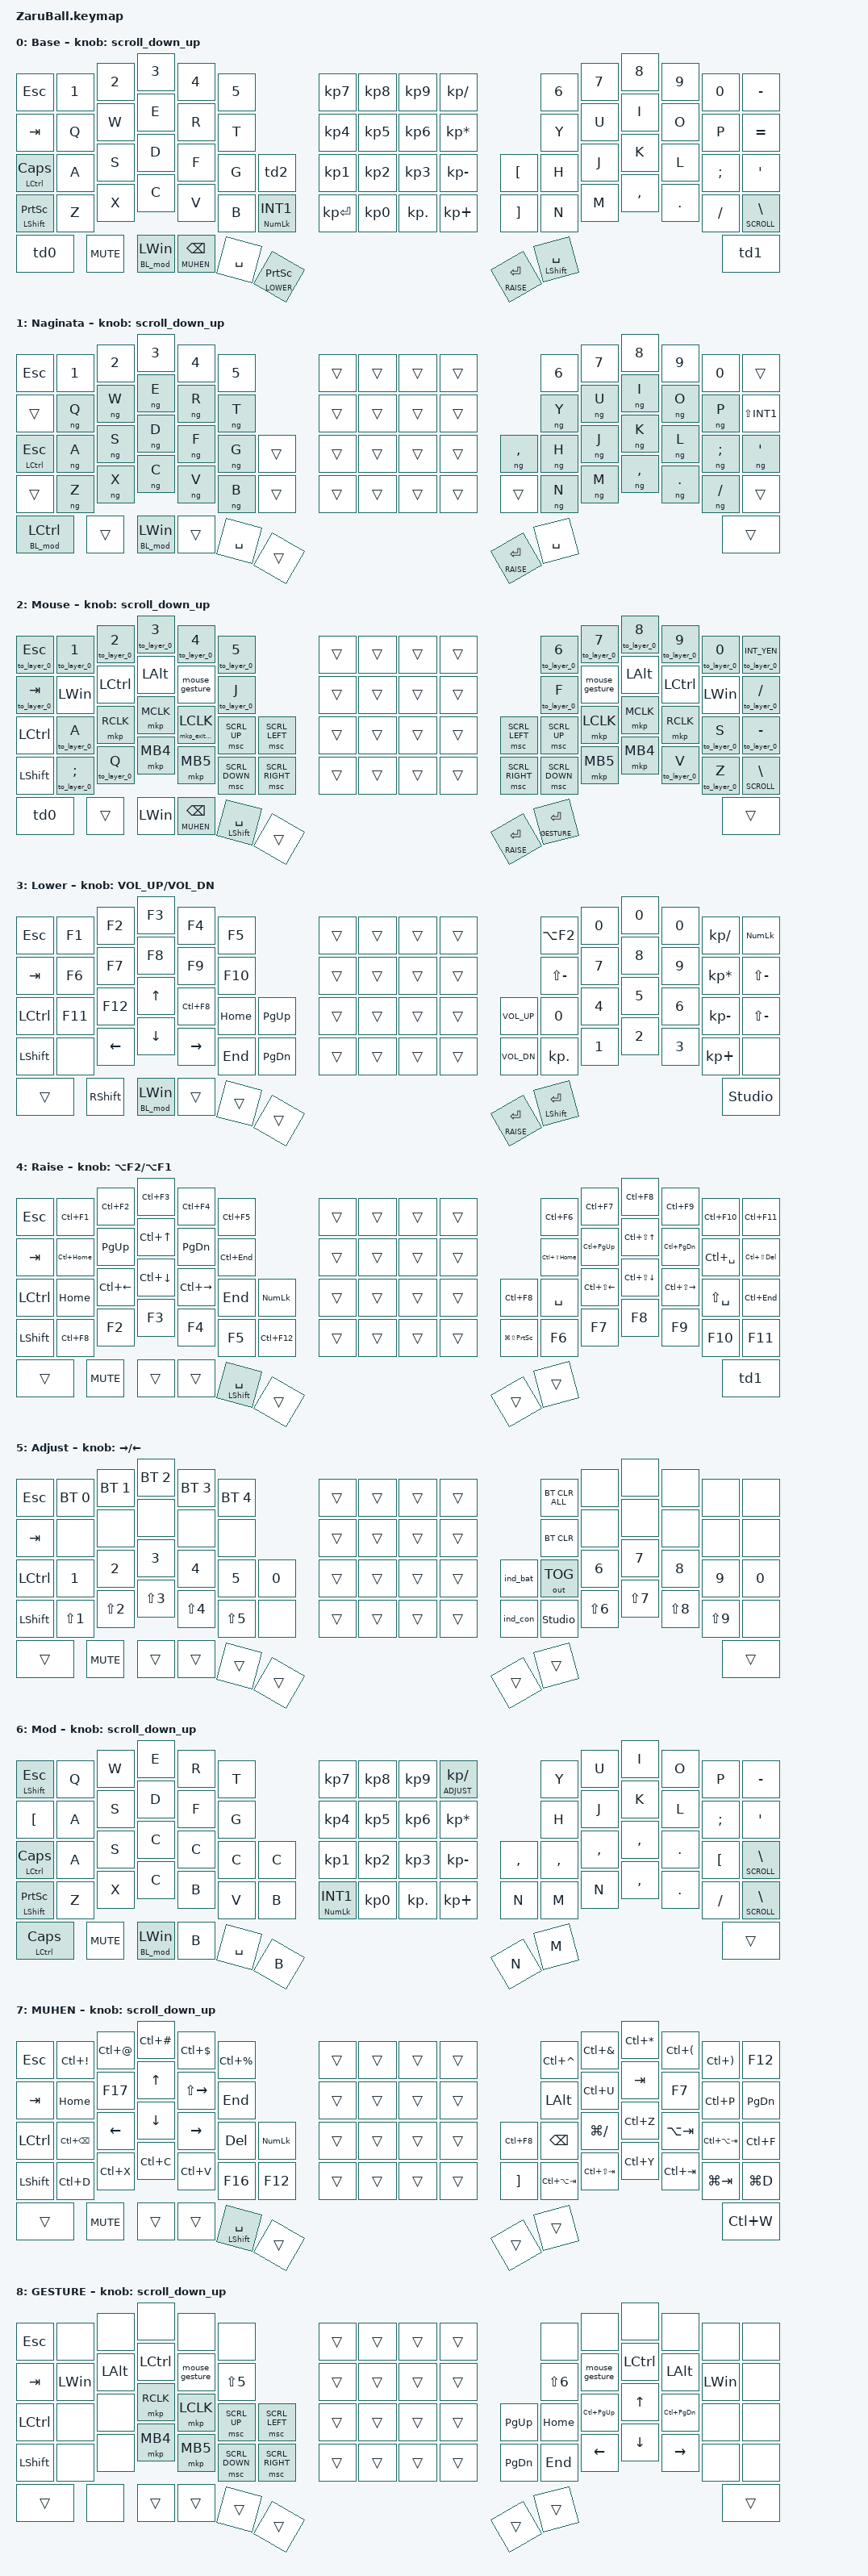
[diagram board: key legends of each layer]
//#include <dt-bindings/zmk/mouse.h>

#include <behaviors/rgbled_widget.dtsi>
#include <behaviors.dtsi>
#include <dt-bindings/zmk/bt.h>
#include <dt-bindings/zmk/keys.h>
#include <dt-bindings/zmk/outputs.h>
#include <dt-bindings/zmk/pointing.h>
#include <behaviors/naginata.dtsi>

#include <input/processors.dtsi>
#include <dt-bindings/zmk/input_transform.h>

//#include <behaviors/mejiro.dtsi>
//#include <dt-bindings/zmk/mejiro.h>

#include <mouse-gesture.dtsi>

#define BASE     0
#define NAGINATA 1
#define MOUSE    2
#define LOWER    3
#define RAISE    4
#define ADJUST   5
#define MOD      6
#define SCROLL   3
#define MUHEN   7
#define GESTURE   8




// スクロール量の設定
#define ZMK_POINTING_DEFAULT_SCRL_VAL 100

&trackball_listener {
    input-processors = <&zip_xy_transform (INPUT_TRANSFORM_XY_SWAP | INPUT_TRANSFORM_Y_INVERT | INPUT_TRANSFORM_X_INVERT)
                        &zip_temp_layer MOUSE 500
                        &zip_mouse_gesture>;

    scroller {
        layers = <SCROLL>;
        input-processors = <
                            &zip_xy_transform (INPUT_TRANSFORM_XY_SWAP | INPUT_TRANSFORM_X_INVERT)
                            &zip_xy_scaler 1 15
                            &zip_xy_to_scroll_mapper
                            >;
    };
};


&zip_mouse_gesture {
    stroke-size = <250>;
    idle-timeout-ms = <150>;
    gesture-cooldown-ms = <150>;
    enable-eager-mode;
    suppress-movement;

    next {
        pattern = <GESTURE_RIGHT>;
        bindings = <&kp TAB>;
    };

    prev {
        pattern = <GESTURE_LEFT>;
        bindings = <&kp LS(TAB)>;
    };

    decide {
        pattern = <GESTURE_UP>;
        bindings = <&kp UP>;
    };

    cancel {
        pattern = <GESTURE_DOWN>;
        bindings = <&kp DOWN>;
    };
};

/ {
    conditional_layers {
        compatible = "zmk,conditional-layers";

        tri_layer {
            if-layers = <3 4>;
            then-layer = <5>;
        };
    };
};

/ {
    behaviors {
        // スクロール用のbehaviorの設定
        scroll_down_up: behavior_sensor_rotate_mouse_wheel_down_up {
            compatible = "zmk,behavior-sensor-rotate";
            #sensor-binding-cells = <0>;
            bindings = <&msc SCRL_DOWN>, <&msc SCRL_UP>;
            tap-ms = <20>; // スクロールのタップ時間
        };

        td0: tap_dance_0 {
            compatible = "zmk,behavior-tap-dance";
            #binding-cells = <0>;
            tapping-term-ms = <200>;
            bindings = <&mt LALT LANG2>, <&mo RAISE>, <&mo MOUSE>;
        };

        td1: tap_dance_1 {
            compatible = "zmk,behavior-tap-dance";
            #binding-cells = <0>;
            tapping-term-ms = <200>;
            bindings = <&BL_mod LCTRL>, <&mo RAISE>, <&mo MOUSE>;
        };

        td2: tap_dance_2 {
            compatible = "zmk,behavior-tap-dance";
            #binding-cells = <0>;
            tapping-term-ms = <200>;
            bindings = <&mt LCTL LBKT>, <&kp KP_NUM>, <&kp RBKT>;
        };



        // Customed Hold-Tap for SandS
        // 他キーとの同時押しのみHold(Shift), 500m以上長押しすると、Tap(Space)のリピート
        SandS: SandS {
            compatible = "zmk,behavior-hold-tap";
            #binding-cells = <2>;
            flavor = "tap-unless-interrupted";
            tapping-term-ms = <500>; // tap-unless-interruptedのため意味は無いが、設定しないとエラーはく
            quick-tap-ms = <500>;
            bindings = <&kp>, <&kp>;

            display-name = "SandS";
        };

        ht_BASE: ht_BASE {
            compatible = "zmk,behavior-hold-tap";
            #binding-cells = <2>;
            flavor = "hold-preferred";
            tapping-term-ms = <200>;
            bindings = <&BL_mod>, <&kp>;

            display-name = "ht-BL_mod";
        };

    };
};


//* mejiro behavior: module側の /behaviors/mejiro に #binding-cells が無いので補修 */
//&{/behaviors/mejiro} {
//  #binding-cells = <1>;
//};

///* もし /behaviors/mj が存在する構成でも安全にしておく（あっても害なし） */
//&{/behaviors/mj} {
//  #binding-cells = <1>;
//};


&sl { release-after-ms = <250>; }; // time needed for double click (for mkp_exit_AML)
/ {
    macros {
        // When in AML, move to default layer when key (except mouse button) pressed
        to_layer_0: to_layer_0 {
            compatible = "zmk,behavior-macro-one-param";
            #binding-cells = <1>;
            bindings = <&tog MOUSE &macro_param_1to1 &kp MACRO_PLACEHOLDER>;
            label = "TO_layer_0";
        };

        // When LCLK pressed, exit AML (after 250ms cause by sticky layer)
        mkp_exit_AML: mkp_exit_AML {
            compatible = "zmk,behavior-macro-one-param";
            #binding-cells = <1>;
            bindings =
                <&macro_press>,
                <&macro_param_1to1 &mkp MACRO_PLACEHOLDER>,
                <&macro_pause_for_release>,
                <&macro_release>,
                <&macro_param_1to1 &mkp MACRO_PLACEHOLDER>,
                <&macro_tap>,
                <&sl MOUSE>;

            label = "MKP_EXIT_AML";
        };

        // Support swapping into Scroll layer when AML is activated

        to_scroll_layer: to_scroll_layer {
            compatible = "zmk,behavior-macro";
            #binding-cells = <0>;
            bindings =
                <&to SCROLL>,
                <&macro_press>,
                <&mo SCROLL>,
                <&macro_pause_for_release>,
                <&macro_release>,
                <&mo SCROLL>;
        };

        BL_mod: BL_mod {
            compatible = "zmk,behavior-macro-one-param";
            #binding-cells = <1>;
            bindings =
                <&macro_press>,
                <&mo MOD &macro_param_1to1>,
                <&macro_press>,
                <&kp MACRO_PLACEHOLDER>,
                <&macro_pause_for_release>,
                <&macro_param_1to1>,
                <&macro_release>,
                <&kp MACRO_PLACEHOLDER>,
                <&macro_release>,
                <&mo MOD>;
        };

        ng_on: ng_on {
            compatible = "zmk,behavior-macro";
            #binding-cells = <0>;
            bindings = <&macro_tap &kp LANG1 &to NAGINATA>;
            //bindings = <&macro_tap &kp CAPS &to NAGINATA>;
        };
    
        ng_off: ng_off {
            compatible = "zmk,behavior-macro";
            #binding-cells = <0>;
            bindings = <&macro_tap &kp LANG2 &to BASE>;
            //bindings = <&macro_tap &kp CAPS &to BASE>;
        };

        mg_on: mg_on {
            compatible = "zmk,behavior-macro";
            #binding-cells = <0>;
            bindings = <&macro_tap &kp LANG1 &to MOD>;
            //bindings = <&macro_tap &kp CAPS &to MOD>;
        };

    };

    combos {
        compatible = "zmk,combos";
        combo_ng_on {
            timeout-ms = <300>;
            key-positions = <45 65>; // 45 65 6 7
            bindings = <&ng_on>;
            layers = <0 1 6>;
        };

        combo_ng_off {
            timeout-ms = <300>;
            key-positions = <52 36>; // 34 36 6 8
            bindings = <&ng_off>;
            layers = <0 1 6>;
        };

        combo_mg_on {
            timeout-ms = <300>;
            key-positions = <52 54>; // 45 65 6 7
            bindings = <&mg_on>;
            layers = <0 1 6>;
        };

};
};


/ {
    keymap {
        compatible = "zmk,keymap";

        base_layer {
            display-name = "Base";
            sensor-bindings = <&scroll_down_up>;
            bindings = <
&kp ESC         &kp N1      &kp N2  &kp N3    &kp N4     &kp N5                              &kp KP_N7     &kp KP_N8  &kp KP_N9   &kp KP_DIVIDE                 &kp NUMBER_6  &kp N7  &kp N8     &kp N9   &kp N0    &kp MINUS
&kp TAB         &kp Q       &kp W   &kp E     &kp R      &kp T                               &kp KP_N4     &kp KP_N5  &kp KP_N6   &kp KP_MULTIPLY               &kp Y         &kp U   &kp I      &kp O    &kp P     &kp EQUAL
&mt LCTRL CAPS  &kp A       &kp S   &kp D     &kp F      &kp G               &td2            &kp KP_N1     &kp KP_N2  &kp KP_N3   &kp KP_MINUS       &kp LBKT   &kp H         &kp J   &kp K      &kp L    &kp SEMI  &kp SQT
&mt LSHFT PSCRN &kp Z       &kp X   &kp C     &kp V      &kp B               &mt KP_NUM INT1 &kp KP_ENTER  &kp KP_N0  &kp KP_DOT  &kp KP_PLUS        &kp RBKT   &kp N         &kp M   &kp COMMA  &kp DOT  &kp FSLH  &lt SCROLL BACKSLASH
&td0            &kp C_MUTE  &BL_mod LWIN  &lt MUHEN BSPC &kp SPACE  &lt LOWER PSCRN                                                               &lt RAISE RET   &SandS LSHFT SPACE                                           &td1
            >;
        };

        naginata_layer {
            display-name = "Naginata";
            sensor-bindings = <&scroll_down_up>;
            bindings = <
&kp ESC       &kp N1      &kp N2  &kp N3    &kp N4     &kp N5                      &trans &trans &trans &trans                                   &kp N6  &kp N7  &kp N8     &kp N9   &kp N0     &trans
&trans        &ng Q   &ng W       &ng E         &ng R        &ng T                         &trans &trans &trans &trans                          &ng Y   &ng U   &ng I      &ng O    &ng P      &kp LS(INT1) 
&mt LCTRL ESC &ng A   &ng S       &ng D         &ng F        &ng G       &trans   &trans &trans &trans &trans            &ng COMMA &ng H   &ng J   &ng K      &ng L    &ng SEMI   &ng SQT 
&trans        &ng Z   &ng X       &ng C         &ng V        &ng B     &trans   &trans &trans &trans &trans  &trans        &ng N   &ng M   &ng COMMA  &ng DOT  &ng SLASH  &trans
&BL_mod LCTRL &trans      &BL_mod LWIN  &trans      &kp SPACE   &trans                                        &lt RAISE RET   &kp SPACE                                           &trans
            >;
        };

        mouse_layer {
            display-name = "Mouse";
            sensor-bindings = <&scroll_down_up>;
            bindings = <
&to_layer_0 ESC     &to_layer_0 N1  &to_layer_0 N2      &to_layer_0 N3  &to_layer_0 N4      &to_layer_0 N5                  &trans &trans &trans &trans                    &to_layer_0 N6  &to_layer_0 N7  &to_layer_0 N8  &to_layer_0 N9      &to_layer_0 N0            &to_layer_0 INT_YEN
&to_layer_0 TAB     &kp LWIN        &kp LCTRL           &kp LALT       &mouse_gesture       &to_layer_0 J                 &trans &trans &trans &trans                    &to_layer_0 F    &mouse_gesture   &kp LALT        &kp LCTRL         &kp LWIN                  &to_layer_0 SLASH
&kp LCTRL           &to_layer_0 A    &mkp RCLK         &mkp MCLK       &mkp_exit_AML LCLK  &msc SCRL_UP    &msc SCRL_LEFT   &trans &trans &trans &trans   &msc SCRL_LEFT   &msc SCRL_UP    &mkp LCLK       &mkp MCLK       &mkp RCLK           &to_layer_0 S             &to_layer_0 MINUS
&kp LSHIFT          &to_layer_0 SEMI &to_layer_0 Q     &mkp MB4        &mkp MB5            &msc SCRL_DOWN  &msc SCRL_RIGHT  &trans &trans &trans &trans   &msc SCRL_RIGHT  &msc SCRL_DOWN  &mkp MB5        &mkp MB4        &to_layer_0 V       &to_layer_0 Z         &lt SCROLL BACKSLASH
&td0              &trans          &kp LWIN       &lt MUHEN BSPC  &SandS LSHFT SPACE      &trans                                               &lt RAISE RET    &lt GESTURE RET                                                               &trans
            >;
        };

        lower_layer {
            display-name = "Lower";
            sensor-bindings = <&inc_dec_kp C_VOL_UP C_VOL_DN>;
            bindings = <
&kp ESC       &kp F1   &kp F2     &kp F3    &kp F4     &kp F5                &trans &trans &trans &trans                &kp LA(F2)    &kp N0  &kp N0 &kp N0 &kp KP_SLASH    &kp KP_NUMLOCK
&kp TAB       &kp F6   &kp F7     &kp F8    &kp F9     &kp F10               &trans &trans &trans &trans                &kp LS(MINUS) &kp N7  &kp N8 &kp N9 &kp KP_MULTIPLY &kp LS(MINUS)
&kp LCTRL     &kp F11  &kp F12    &kp UP    &kp LC(F8) &kp HOME  &kp PG_UP   &trans &trans &trans &trans   &kp C_VOL_UP &kp N0        &kp N4  &kp N5 &kp N6 &kp KP_MINUS    &kp LS(MINUS)
&kp LSHIFT    &none    &kp LEFT   &kp DOWN  &kp RIGHT  &kp END   &kp PG_DN   &trans &trans &trans &trans   &kp C_VOL_DN &kp KP_DOT    &kp N1  &kp N2 &kp N3  &kp KP_PLUS    &none
&trans           &kp RSHFT  &BL_mod LWIN    &trans     &trans    &trans                                    &lt RAISE RET    &mt LSHFT RET                                             &studio_unlock
            >;
        };

        raise_layer {
            display-name = "Raise";
            sensor-bindings = <&inc_dec_kp LA(F2) LA(F1)>;
            bindings = <
&kp ESC     &kp LC(F1)   &kp LC(F2)   &kp LC(F3)   &kp LC(F4)     &kp LC(F5)           &trans &trans &trans &trans                    &kp LC(F6)       &kp LC(F7)       &kp LC(F8)       &kp LC(F9)        &kp LC(F10)   &kp LC(F11)
&kp TAB     &kp LC(HOME) &kp PG_UP    &kp LC(UP)   &kp PG_DN      &kp LC(END)          &trans &trans &trans &trans                    &kp LC(LS(HOME)) &kp LC(PG_UP)    &kp LC(LS(UP))   &kp LC(PG_DN)     &kp LC(SPACE) &kp LC(LS(DEL))
&kp LCTRL   &kp HOME     &kp LC(LEFT) &kp LC(DOWN) &kp LC(RIGHT)  &kp END &kp KP_NUM   &trans &trans &trans &trans  &kp LC(F8)        &kp SPACE        &kp LC(LS(LEFT)) &kp LC(LS(DOWN)) &kp LC(LS(RIGHT)) &kp LS(SPACE) &kp LC(END) 
&kp LSHFT   &kp LC(F8)   &kp F2       &kp F3       &kp F4         &kp F5   &kp LC(F12) &trans &trans &trans &trans  &kp LG(LS(PSCRN)) &kp F6           &kp F7           &kp F8           &kp F9            &kp F10       &kp F11
&trans        &kp C_MUTE  &trans  &trans  &mt LSHFT SPACE                               &trans     &trans    &trans                              &td1
            >;
        };

        adjust_layer {
            display-name = "Adjust";
            sensor-bindings = <&inc_dec_kp RIGHT LEFT>;
            bindings = <
&kp ESC    &bt BT_SEL 0  &bt BT_SEL 1  &bt BT_SEL 2  &bt BT_SEL 3  &bt BT_SEL 4           &trans &trans &trans &trans            &bt BT_CLR_ALL  &none  &none  &none  &none  &none
&kp TAB    &none         &none         &none         &none         &none                  &trans &trans &trans &trans            &bt BT_CLR      &none  &none  &none  &none  &none
&kp LCTRL  &kp     N1  &kp N2      &kp N3          &kp N4          &kp N5        &kp N0   &trans &trans &trans &trans   &ind_bat &out OUT_TOG    &kp N6         &kp N7         &kp N8         &kp N9      &kp N0 
&kp LSHIFT &kp LS(N1)  &kp LS(N2)  &kp LS(N3)      &kp LS(N4)      &kp LS(N5)    &none    &trans &trans &trans &trans   &ind_con &studio_unlock  &kp LS(N6)     &kp LS(N7)     &kp LS(N8)     &kp LS(N9)  &none
&trans                &kp C_MUTE    &trans        &trans        &trans        &trans                                 &trans   &trans                                     &trans
            >;
        };

        mod_layer {
            display-name = "Mod";
            sensor-bindings = <&scroll_down_up>;
            bindings = <
&mt LSHFT ESC   &kp Q     &kp W  &kp E    &kp R     &kp T                              &kp KP_N7     &kp KP_N8  &kp KP_N9   &lt ADJUST KP_DIVIDE                 &kp Y  &kp U  &kp I     &kp O   &kp P    &kp MINUS
&kp LBKT        &kp A       &kp S   &kp D     &kp F      &kp G                               &kp KP_N4     &kp KP_N5  &kp KP_N6   &kp KP_MULTIPLY               &kp H         &kp J   &kp K      &kp L    &kp SEMI     &kp SQT
&mt LCTRL CAPS  &kp A       &kp S   &kp C     &kp C      &kp C        &kp C            &kp KP_N1     &kp KP_N2  &kp KP_N3   &kp KP_MINUS       &kp COMMA    &kp COMMA     &kp COMMA &kp COMMA  &kp DOT  &kp LBKT  &lt SCROLL BACKSLASH
&mt LSHFT PSCRN &kp Z       &kp X   &kp C     &kp B &kp V  &kp B                          &mt KP_NUM INT1  &kp KP_N0  &kp KP_DOT  &kp KP_PLUS        &kp N   &kp M     &kp N &kp COMMA  &kp DOT  &kp FSLH  &lt SCROLL BACKSLASH
&mt LCTRL CAPS  &kp C_MUTE  &BL_mod LWIN  &kp B &kp SPACE  &kp B                                                                                      &kp N   &kp M                                     &trans
            >;
        };

        // Extra layer can be added in ZMK STUDIO

        MUHEN_layer {
            display-name = "MUHEN";
            sensor-bindings = <&scroll_down_up>;
            bindings = <
&kp ESC     &kp LC(EXCL) &kp LC(AT) &kp LC(HASH)    &kp LC(DLLR)       &kp LC(PRCNT)            &trans &trans &trans &trans             &kp LC(CARET)  &kp LC(AMPS)   &kp LC(ASTRK) &kp LC(LPAR) &kp LC(RPAR) &kp F12
&kp TAB     &kp HOME       &kp F17        &kp UP        &kp LS(RIGHT)   &kp END                 &trans &trans &trans &trans             &kp LALT       &kp LC(U)        &kp TAB        &kp F7         &kp LC(P)       &kp PG_DN
&kp LCTRL   &kp LC(BSPC)   &kp LEFT       &kp DOWN      &kp RIGHT       &kp DEL &kp KP_NUM      &trans &trans &trans &trans  &kp LC(F8) &kp BSPC       &kp LG(SLASH)    &kp LC(Z)      &kp LA(TAB)    &kp LC(LA(TAB))   &kp LC(F)
&kp LSHFT   &kp LC(D)      &kp LC(X)      &kp  LC(C)    &kp LC(V)       &kp F16 &kp F12         &trans &trans &trans &trans  &kp RBKT  &kp LC(LA(TAB)) &kp LC(LS(TAB))  &kp LC(Y)      &kp LC(TAB)    &kp LG(TAB)     &kp LG(D)
&trans        &kp C_MUTE  &trans  &trans  &mt LSHFT SPACE                               &trans     &trans    &trans                              &kp LC(W)
            >;
        };

        GESTURE_layer {
            display-name = "GESTURE";
            sensor-bindings = <&scroll_down_up>;
            bindings = <
&kp ESC    &none  &none  &none      &none      &none                             &trans &trans &trans &trans              &none      &none         &none      &none         &none   &none
&kp TAB    &kp LWIN  &kp LALT  &kp LCTRL      &mouse_gesture   &kp LS(N5)    &trans &trans &trans &trans              &kp LS(N6) &mouse_gesture    &kp LCTRL  &kp LALT      &kp LWIN   &none
&kp LCTRL  &none  &none  &mkp RCLK  &mkp LCLK  &msc SCRL_UP    &msc SCRL_LEFT    &trans &trans &trans &trans   &kp PG_UP  &kp HOME   &kp LC(PG_UP) &kp UP     &kp LC(PG_DN) &none   &none
&kp LSHIFT &none  &none  &mkp MB4   &mkp MB5   &msc SCRL_DOWN  &msc SCRL_RIGHT   &trans &trans &trans &trans   &kp PG_DN  &kp END    &kp LEFT      &kp DOWN   &kp RIGHT     &none   &none
&trans         &none  &trans     &trans     &trans          &trans                                          &trans     &trans                                         &trans
            >;
        };




    };
};
